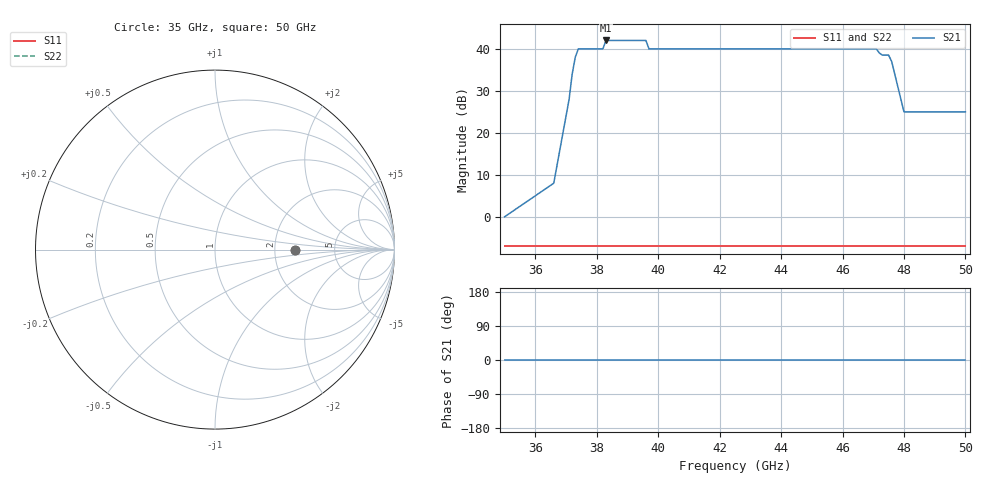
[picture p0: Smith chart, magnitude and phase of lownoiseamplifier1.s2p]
# Ghz S DB R 50
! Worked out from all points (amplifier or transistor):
!   151 points, 35 GHz to 50 GHz, reference 50 ohm
!   highest |S21| = 42.0 dB at 38.3 GHz (marker M1)
!   |S21| within 3 dB of that: 37.35 GHz to 47.2 GHz (9.85 GHz wide, 23.3 % of centre)
!   unconditionally stable (mu >= 1): start of sweep to end of sweep
!   at 37.5 GHz: K = 320379127030786944.00, MAG = -120.0 dB, |S12| = - dB
!   at 42.5 GHz: K = 320379127030786944.00, MAG = -120.0 dB, |S12| = - dB
!   at 50 GHz: K = 1801624228578199040.00, MAG = -120.0 dB, |S12| = - dB
!   lowest NFmin = 0.20 dB at 39.1 GHz
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35  -7.00 0.0  0.00 0.0  -9999.00 0.0  -7.00 0.0
36.6  -7.00 0.0  8.00 0.0  -9999.00 0.0  -7.00 0.0
36.9  -7.00 0.0  20.00 0.0  -9999.00 0.0  -7.00 0.0
37.1  -7.00 0.0  28.00 0.0  -9999.00 0.0  -7.00 0.0
37.3  -7.00 0.0  38.00 0.0  -9999.00 0.0  -7.00 0.0
37.4  -7.00 0.0  40.00 0.0  -9999.00 0.0  -7.00 0.0
37.5  -7.00 0.0  40.00 0.0  -9999.00 0.0  -7.00 0.0
38.2  -7.00 0.0  40.00 0.0  -9999.00 0.0  -7.00 0.0
38.3  -7.00 0.0  42.00 0.0  -9999.00 0.0  -7.00 0.0
39.6  -7.00 0.0  42.00 0.0  -9999.00 0.0  -7.00 0.0
39.7  -7.00 0.0  40.00 0.0  -9999.00 0.0  -7.00 0.0
40  -7.00 0.0  40.00 0.0  -9999.00 0.0  -7.00 0.0
42.5  -7.00 0.0  40.00 0.0  -9999.00 0.0  -7.00 0.0
45  -7.00 0.0  40.00 0.0  -9999.00 0.0  -7.00 0.0
47.1  -7.00 0.0  40.00 0.0  -9999.00 0.0  -7.00 0.0
47.2  -7.00 0.0  39.00 0.0  -9999.00 0.0  -7.00 0.0
47.3  -7.00 0.0  38.50 0.0  -9999.00 0.0  -7.00 0.0
47.5  -7.00 0.0  38.50 0.0  -9999.00 0.0  -7.00 0.0
47.6  -7.00 0.0  37.00 0.0  -9999.00 0.0  -7.00 0.0
47.8  -7.00 0.0  31.00 0.0  -9999.00 0.0  -7.00 0.0
48  -7.00 0.0  25.00 0.0  -9999.00 0.0  -7.00 0.0
50  -7.00 0.0  25.00 0.0  -9999.00 0.0  -7.00 0.0
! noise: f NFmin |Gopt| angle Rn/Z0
35  0.7  0  0  0
36.6  0.5  0  0  0
38.3  0.3  0  0  0
40  0.2  0  0  0
41.6  0.2  0  0  0
43.3  0.2  0  0  0
45  0.2  0  0  0
46.6  0.2  0  0  0
48.3  0.2  0  0  0
50  0.2  0  0  0
